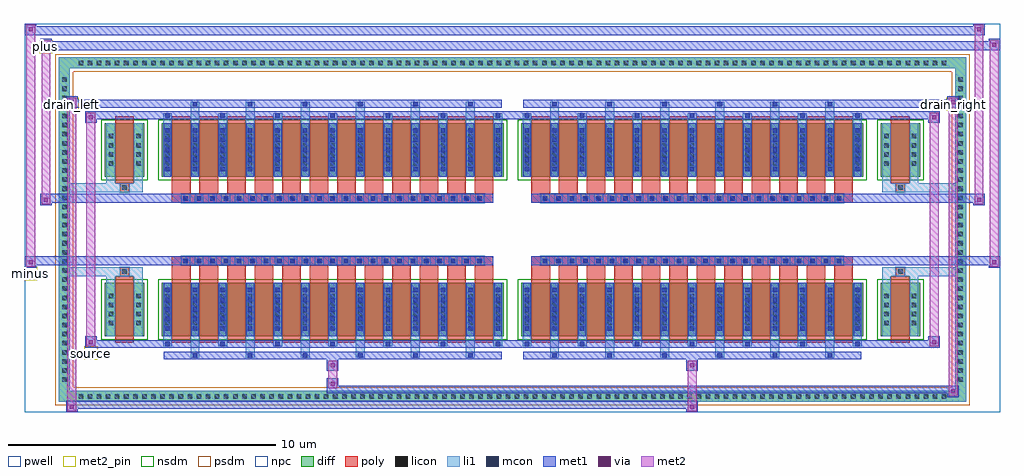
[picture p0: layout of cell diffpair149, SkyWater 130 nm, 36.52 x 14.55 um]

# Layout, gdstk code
import gdstk
lib = gdstk.Library(unit=1e-6, precision=5e-09)
def R(c, l, rs):  # rectangles x0, y0, x1, y1
    for r in rs: c.add(gdstk.rectangle(r[:2], r[2:], *l))
def A(c, l, x, y, w, h, nx, ny, dx, dy):  # array of equal rectangles
    R(c, l, [(x+i*dx, y+j*dy, x+i*dx+w, y+j*dy+h) for i in range(nx) for j in range(ny)])
def P(c, l, *ps):  # polygons
    for p in ps: c.add(gdstk.Polygon(p, *l))
pwell = (64, 44)
diff = (65, 20)
poly = (66, 20)
licon = (66, 44)
li1 = (67, 20)
mcon = (67, 44)
met1 = (68, 20)
via = (68, 44)
met2_pin = (69, 16)
met2 = (69, 20)
nsdm = (93, 44)
psdm = (94, 20)
npc = (95, 20)

diffpair149 = lib.new_cell('diffpair149')
R(diffpair149, pwell, [(-18.24,-6.84,18.24,7.71), (-15.56,-5.03,-0.01,-0.805), (0.01,-5.03,15.56,-0.805), (-15.56,0.805,-0.01,5.03), (0.01,0.805,15.56,5.03)])
A(diffpair149, diff, -16.355, -6.44, 0.41, 0.41, 96, 2, 0.34, 12.47)
A(diffpair149, diff, -16.97, -5.815, 0.41, 0.41, 1, 34, 0, 0.34)
A(diffpair149, diff, 16.56, -5.815, 0.41, 0.41, 1, 34, 0, 0.34)
R(diffpair149, diff, [(-16.355,-6.44,16.355,-6.03), (-16.97,-5.815,-16.56,5.815), (16.56,-5.815,16.97,5.815), (-15.25,-3.985,-13.77,-1.985), (-13.13,-3.985,-0.32,-1.985), (0.32,-3.985,13.13,-1.985), (13.77,-3.985,15.25,-1.985), (-15.25,1.985,-13.77,3.985), (-13.13,1.985,-0.32,3.985), (0.32,1.985,13.13,3.985), (13.77,1.985,15.25,3.985), (-16.355,6.03,16.355,6.44)])
P(diffpair149, diff, [(16.97,6.44),(-16.97,6.44),(-16.97,-6.03),(-16.56,-6.03),(-16.56,6.03),(16.56,6.03),(16.56,-6.03),(-16.56,-6.03),(-16.97,-6.03),(-16.97,-6.44),(16.97,-6.44)])
A(diffpair149, poly, -12.74, -4.235, 0.7, 2.5, 12, 2, 1.03, 5.97)
A(diffpair149, poly, 0.71, -4.235, 0.7, 2.5, 12, 2, 1.03, 5.97)
A(diffpair149, poly, -12.74, -1.735, 0.7, 0.4, 12, 2, 1.03, 3.07)
A(diffpair149, poly, 0.71, -1.735, 0.7, 0.4, 12, 2, 1.03, 3.07)
A(diffpair149, poly, -12.39, -1.335, 0.33, 0.33, 23, 2, 0.5, 2.34)
A(diffpair149, poly, 1.06, -1.335, 0.33, 0.33, 23, 2, 0.5, 2.34)
R(diffpair149, poly, [(-14.86,-4.235,-14.16,-1.735), (14.16,-4.235,14.86,-1.735), (-14.675,-1.735,-14.345,-1.405), (-14.675,-1.735,-14.345,-1.405), (14.345,-1.735,14.675,-1.405), (14.345,-1.735,14.675,-1.405), (-12.74,-1.335,-0.71,-1.005), (0.71,-1.335,12.74,-1.005), (-12.74,1.005,-0.71,1.335), (0.71,1.005,12.74,1.335), (-14.675,1.405,-14.345,1.735), (-14.675,1.405,-14.345,1.735), (14.345,1.405,14.675,1.735), (14.345,1.405,14.675,1.735), (-14.86,1.735,-14.16,4.235), (14.16,1.735,14.86,4.235)])
A(diffpair149, licon, -16.235, -6.32, 0.17, 0.17, 96, 2, 0.34, 12.47)
A(diffpair149, licon, -16.85, -5.695, 0.17, 0.17, 1, 34, 0, 0.34)
A(diffpair149, licon, 16.68, -5.695, 0.17, 0.17, 1, 34, 0, 0.34)
A(diffpair149, licon, -15.11, -3.58, 0.17, 0.17, 1, 4, 0, 0.34)
A(diffpair149, licon, -14.08, -3.58, 0.17, 0.17, 1, 4, 0, 0.34)
A(diffpair149, licon, -12.99, -3.58, 0.17, 0.17, 13, 4, 1.03, 0.34)
A(diffpair149, licon, 0.46, -3.58, 0.17, 0.17, 13, 4, 1.03, 0.34)
A(diffpair149, licon, 13.91, -3.58, 0.17, 0.17, 1, 4, 0, 0.34)
A(diffpair149, licon, 14.94, -3.58, 0.17, 0.17, 1, 4, 0, 0.34)
A(diffpair149, licon, -12.31, -1.255, 0.17, 0.17, 23, 2, 0.5, 2.34)
A(diffpair149, licon, 1.14, -1.255, 0.17, 0.17, 23, 2, 0.5, 2.34)
A(diffpair149, licon, -15.11, 2.39, 0.17, 0.17, 1, 4, 0, 0.34)
A(diffpair149, licon, -14.08, 2.39, 0.17, 0.17, 1, 4, 0, 0.34)
A(diffpair149, licon, -12.99, 2.39, 0.17, 0.17, 13, 4, 1.03, 0.34)
A(diffpair149, licon, 0.46, 2.39, 0.17, 0.17, 13, 4, 1.03, 0.34)
A(diffpair149, licon, 13.91, 2.39, 0.17, 0.17, 1, 4, 0, 0.34)
A(diffpair149, licon, 14.94, 2.39, 0.17, 0.17, 1, 4, 0, 0.34)
R(diffpair149, licon, [(-14.595,-1.655,-14.425,-1.485), (14.425,-1.655,14.595,-1.485), (-14.595,1.485,-14.425,1.655), (14.425,1.485,14.595,1.655)])
A(diffpair149, li1, -16.315, -6.4, 0.33, 0.33, 96, 2, 0.34, 12.47)
A(diffpair149, li1, -16.93, -5.775, 0.33, 0.33, 1, 34, 0, 0.34)
A(diffpair149, li1, 16.6, -5.775, 0.33, 0.33, 1, 34, 0, 0.34)
A(diffpair149, li1, -12.04, -4.79, 0.33, 0.805, 6, 2, 2.06, 8.775)
A(diffpair149, li1, -11.96, -4.79, 0.17, 0.17, 6, 2, 2.06, 9.41)
A(diffpair149, li1, 1.41, -4.79, 0.33, 0.805, 6, 2, 2.06, 8.775)
A(diffpair149, li1, 1.49, -4.79, 0.17, 0.17, 6, 2, 2.06, 9.41)
A(diffpair149, li1, -13.07, -4.36, 0.33, 0.375, 7, 2, 2.06, 8.345)
A(diffpair149, li1, -12.99, -4.36, 0.17, 0.17, 7, 2, 2.06, 8.55)
A(diffpair149, li1, 0.38, -4.36, 0.33, 0.375, 7, 2, 2.06, 8.345)
A(diffpair149, li1, 0.46, -4.36, 0.17, 0.17, 7, 2, 2.06, 8.55)
A(diffpair149, li1, -13.07, -3.985, 0.33, 2, 13, 2, 1.03, 5.97)
A(diffpair149, li1, 0.38, -3.985, 0.33, 2, 13, 2, 1.03, 5.97)
A(diffpair149, li1, -12.99, -3.79, 0.17, 0.17, 13, 5, 1.03, 0.36)
A(diffpair149, li1, -12.99, -3.79, 0.17, 1.61, 13, 2, 1.03, 5.97)
A(diffpair149, li1, 0.46, -3.79, 0.17, 0.17, 13, 5, 1.03, 0.36)
A(diffpair149, li1, 0.46, -3.79, 0.17, 1.61, 13, 2, 1.03, 5.97)
A(diffpair149, li1, -15.19, -3.66, 0.33, 0.33, 1, 4, 0, 0.34)
A(diffpair149, li1, -14.16, -3.66, 0.33, 0.33, 1, 4, 0, 0.34)
A(diffpair149, li1, -13.07, -3.66, 0.33, 0.33, 13, 4, 1.03, 0.34)
A(diffpair149, li1, 0.38, -3.66, 0.33, 0.33, 13, 4, 1.03, 0.34)
A(diffpair149, li1, 13.83, -3.66, 0.33, 0.33, 1, 4, 0, 0.34)
A(diffpair149, li1, 14.86, -3.66, 0.33, 0.33, 1, 4, 0, 0.34)
A(diffpair149, li1, -12.39, -1.335, 0.33, 0.33, 23, 2, 0.5, 2.34)
A(diffpair149, li1, 1.06, -1.335, 0.33, 0.33, 23, 2, 0.5, 2.34)
A(diffpair149, li1, -12.99, 2.18, 0.17, 0.17, 13, 5, 1.03, 0.36)
A(diffpair149, li1, 0.46, 2.18, 0.17, 0.17, 13, 5, 1.03, 0.36)
A(diffpair149, li1, -15.19, 2.31, 0.33, 0.33, 1, 4, 0, 0.34)
A(diffpair149, li1, -14.16, 2.31, 0.33, 0.33, 1, 4, 0, 0.34)
A(diffpair149, li1, -13.07, 2.31, 0.33, 0.33, 13, 4, 1.03, 0.34)
A(diffpair149, li1, 0.38, 2.31, 0.33, 0.33, 13, 4, 1.03, 0.34)
A(diffpair149, li1, 13.83, 2.31, 0.33, 0.33, 1, 4, 0, 0.34)
A(diffpair149, li1, 14.86, 2.31, 0.33, 0.33, 1, 4, 0, 0.34)
R(diffpair149, li1, [(-16.97,-6.44,-16.56,-6.03), (-16.97,-6.44,-16.56,-6.03), (-16.56,-6.44,16.56,-6.03), (16.56,-6.44,16.97,-6.03), (16.56,-6.44,16.97,-6.03), (-16.97,-6.03,-16.56,6.03), (16.56,-6.03,16.97,6.03), (-15.19,-3.985,-14.86,-1.985), (-14.16,-3.985,-13.83,-1.985), (13.83,-3.985,14.16,-1.985), (14.86,-3.985,15.19,-1.985), (-15.19,-1.985,-14.86,-1.405), (-14.16,-1.985,-13.83,-1.405), (13.83,-1.985,14.16,-1.405), (14.86,-1.985,15.19,-1.405), (-16.97,-1.735,-14.675,-1.405), (-15.19,-1.735,-14.675,-1.405), (-14.675,-1.735,-14.345,-1.405), (-14.345,-1.735,-13.83,-1.405), (13.83,-1.735,14.345,-1.405), (14.345,-1.735,14.675,-1.405), (14.345,-1.735,16.97,-1.405), (14.675,-1.735,15.19,-1.405), (-16.97,1.405,-14.675,1.735), (-15.19,1.405,-14.675,1.735), (-15.19,1.405,-14.86,1.985), (-14.675,1.405,-14.345,1.735), (-14.345,1.405,-13.83,1.735), (-14.16,1.405,-13.83,1.985), (13.83,1.405,14.345,1.735), (13.83,1.405,14.16,1.985), (14.345,1.405,14.675,1.735), (14.345,1.405,16.97,1.735), (14.675,1.405,15.19,1.735), (14.86,1.405,15.19,1.985), (-15.19,1.985,-14.86,3.985), (-14.16,1.985,-13.83,3.985), (13.83,1.985,14.16,3.985), (14.86,1.985,15.19,3.985), (-16.97,6.03,-16.56,6.44), (-16.97,6.03,-16.56,6.44), (-16.56,6.03,16.56,6.44), (16.56,6.03,16.97,6.44), (16.56,6.03,16.97,6.44)])
A(diffpair149, mcon, -11.96, -4.79, 0.17, 0.17, 6, 2, 2.06, 9.41)
A(diffpair149, mcon, 1.49, -4.79, 0.17, 0.17, 6, 2, 2.06, 9.41)
A(diffpair149, mcon, -12.99, -4.36, 0.17, 0.17, 7, 2, 2.06, 8.55)
A(diffpair149, mcon, 0.46, -4.36, 0.17, 0.17, 7, 2, 2.06, 8.55)
A(diffpair149, mcon, -12.99, -3.79, 0.17, 0.17, 13, 5, 1.03, 0.36)
A(diffpair149, mcon, 0.46, -3.79, 0.17, 0.17, 13, 5, 1.03, 0.36)
A(diffpair149, mcon, -12.31, -1.255, 0.17, 0.17, 23, 2, 0.5, 2.34)
A(diffpair149, mcon, 1.14, -1.255, 0.17, 0.17, 23, 2, 0.5, 2.34)
A(diffpair149, mcon, -12.99, 2.18, 0.17, 0.17, 13, 5, 1.03, 0.36)
A(diffpair149, mcon, 0.46, 2.18, 0.17, 0.17, 13, 5, 1.03, 0.36)
A(diffpair149, met1, -12.02, -4.85, 0.29, 0.29, 6, 2, 2.06, 9.41)
A(diffpair149, met1, 1.43, -4.85, 0.29, 0.29, 6, 2, 2.06, 9.41)
A(diffpair149, met1, -13.05, -4.42, 0.29, 0.29, 7, 2, 2.06, 8.55)
A(diffpair149, met1, 0.4, -4.42, 0.29, 0.29, 7, 2, 2.06, 8.55)
A(diffpair149, met1, -13.05, -3.985, 0.29, 2, 13, 2, 1.03, 5.97)
A(diffpair149, met1, 0.4, -3.985, 0.29, 2, 13, 2, 1.03, 5.97)
A(diffpair149, met1, -13.05, -3.85, 0.29, 0.29, 13, 5, 1.03, 0.36)
A(diffpair149, met1, 0.4, -3.85, 0.29, 0.29, 13, 5, 1.03, 0.36)
A(diffpair149, met1, -12.37, -1.315, 0.29, 0.29, 23, 2, 0.5, 2.34)
A(diffpair149, met1, 1.08, -1.315, 0.29, 0.29, 23, 2, 0.5, 2.34)
A(diffpair149, met1, -13.05, 2.12, 0.29, 0.29, 13, 5, 1.03, 0.36)
A(diffpair149, met1, 0.4, 2.12, 0.29, 0.29, 13, 5, 1.03, 0.36)
R(diffpair149, met1, [(-16.7,-6.84,-16.27,-6.41), (6.51,-6.84,6.94,-6.41), (-16.7,-6.7,6.94,-6.41), (16.27,-6.27,16.7,-5.84), (-6.94,-6.13,16.7,-5.84), (-6.94,-5.99,-6.51,-5.56), (-6.94,-5.28,-6.51,-4.85), (6.51,-5.28,6.94,-4.85), (-13.05,-4.85,-0.4,-4.56), (0.4,-4.85,13.05,-4.56), (-15.99,-4.42,-15.56,-3.99), (-15.99,-4.42,-13.05,-4.13), (-13.05,-4.42,-0.4,-4.13), (-0.4,-4.42,0.4,-4.13), (0.4,-4.42,13.05,-4.13), (13.05,-4.42,15.99,-4.13), (15.56,-4.42,15.99,-3.99), (-18.24,-1.435,-17.81,-1.005), (17.81,-1.435,18.24,-1.005), (-18.24,-1.335,-0.71,-1.005), (-12.74,-1.335,-0.71,-1.005), (0.71,-1.335,12.74,-1.005), (0.71,-1.335,18.24,-1.005), (-17.67,0.905,-17.24,1.335), (17.24,0.905,17.67,1.335), (-17.67,1.005,-12.74,1.335), (-12.74,1.005,-0.71,1.335), (0.71,1.005,12.74,1.335), (12.74,1.005,17.67,1.335), (-15.99,3.99,-15.56,4.42), (15.56,3.99,15.99,4.42), (-15.99,4.13,-13.05,4.42), (-13.05,4.13,-0.4,4.42), (-0.4,4.13,0.4,4.42), (0.4,4.13,13.05,4.42), (13.05,4.13,15.99,4.42), (-16.7,4.56,-16.27,4.99), (-16.7,4.56,-13.05,4.85), (-13.05,4.56,-0.4,4.85), (0.4,4.56,13.05,4.85), (13.05,4.56,16.7,4.85), (16.27,4.56,16.7,4.99), (-17.67,6.71,-17.24,7.14), (-17.67,6.71,-15.56,7.04), (-15.56,6.71,15.56,7.04), (15.56,6.71,18.24,7.04), (17.81,6.71,18.24,7.14), (-18.24,7.28,-17.81,7.71), (-18.24,7.28,-15.56,7.61), (-15.56,7.28,15.56,7.61), (15.56,7.28,17.67,7.61), (17.24,7.28,17.67,7.71)])
R(diffpair149, via, [(-16.56,-6.7,-16.41,-6.55), (6.65,-6.7,6.8,-6.55), (16.41,-6.13,16.56,-5.98), (-6.8,-5.85,-6.65,-5.7), (-6.8,-5.14,-6.65,-4.99), (6.65,-5.14,6.8,-4.99), (-15.85,-4.28,-15.7,-4.13), (15.7,-4.28,15.85,-4.13), (-18.1,-1.295,-17.95,-1.145), (17.95,-1.295,18.1,-1.145), (-17.53,1.045,-17.38,1.195), (17.38,1.045,17.53,1.195), (-15.85,4.13,-15.7,4.28), (15.7,4.13,15.85,4.28), (-16.56,4.7,-16.41,4.85), (16.41,4.7,16.56,4.85), (-17.53,6.85,-17.38,7), (17.95,6.85,18.1,7), (-18.1,7.42,-17.95,7.57), (17.38,7.42,17.53,7.57)])
R(diffpair149, met2_pin, [(-16.025,-4.87,-15.525,-4.37), (-18.275,-1.885,-17.775,-1.385), (-16.735,4.44,-16.235,4.94), (16.235,4.44,16.735,4.94), (-17.705,6.59,-17.205,7.09)])
R(diffpair149, met2, [(-16.65,-6.79,-16.32,-6.46), (-16.65,-6.79,-16.32,4.94), (6.56,-6.79,6.89,-6.46), (6.56,-6.46,6.89,-5.23), (16.32,-6.22,16.65,-5.89), (16.32,-6.22,16.65,4.94), (-6.89,-5.94,-6.56,-5.61), (-6.89,-5.61,-6.56,-5.23), (-6.89,-5.23,-6.56,-4.9), (6.56,-5.23,6.89,-4.9), (-15.94,-4.37,-15.61,-4.04), (-15.94,-4.37,-15.61,4.37), (15.61,-4.37,15.94,-4.04), (15.61,-4.37,15.94,4.37), (-18.19,-1.385,-17.86,-1.055), (-18.19,-1.385,-17.86,7.66), (17.86,-1.385,18.19,-1.055), (17.86,-1.385,18.19,7.09), (-17.62,0.955,-17.29,1.285), (-17.62,0.955,-17.29,7.09), (17.29,0.955,17.62,1.285), (17.29,0.955,17.62,7.66), (-15.94,4.04,-15.61,4.37), (15.61,4.04,15.94,4.37), (-16.65,4.61,-16.32,4.94), (16.32,4.61,16.65,4.94), (-17.62,6.76,-17.29,7.09), (17.86,6.76,18.19,7.09), (-18.19,7.33,-17.86,7.66), (17.29,7.33,17.62,7.66)])
P(diffpair149, met2, [(18.19,-1.385),(18.19,-1.385),(18.19,-1.055),(18.19,-1.055)],
  [(18.19,6.76),(18.19,6.76),(18.19,7.09),(18.19,7.09)],
  [(-17.86,-1.385),(-17.86,-1.385),(-17.86,-1.055),(-17.86,-1.055)],
  [(-17.86,7.33),(-17.86,7.33),(-17.86,7.66),(-17.86,7.66)],
  [(17.62,0.955),(17.62,0.955),(17.62,1.285),(17.62,1.285)],
  [(17.62,7.33),(17.62,7.33),(17.62,7.66),(17.62,7.66)],
  [(-17.29,0.955),(-17.29,0.955),(-17.29,1.285),(-17.29,1.285)],
  [(-17.29,6.76),(-17.29,6.76),(-17.29,7.09),(-17.29,7.09)],
  [(-16.32,-6.79),(-16.32,-6.79),(-16.32,-6.46),(-16.32,-6.46)],
  [(-16.32,4.61),(-16.32,4.61),(-16.32,4.94),(-16.32,4.94)],
  [(16.65,-6.22),(16.65,-6.22),(16.65,-5.89),(16.65,-5.89)],
  [(16.65,4.61),(16.65,4.61),(16.65,4.94),(16.65,4.94)],
  [(-15.61,-4.37),(-15.61,-4.37),(-15.61,-4.04),(-15.61,-4.04)],
  [(-15.61,4.04),(-15.61,4.04),(-15.61,4.37),(-15.61,4.37)],
  [(15.94,-4.37),(15.94,-4.37),(15.94,-4.04),(15.94,-4.04)],
  [(15.94,4.04),(15.94,4.04),(15.94,4.37),(15.94,4.37)])
R(diffpair149, nsdm, [(-15.38,-4.115,-13.64,-1.855), (-13.26,-4.115,-0.19,-1.855), (0.19,-4.115,13.26,-1.855), (13.64,-4.115,15.38,-1.855), (-15.38,1.855,-13.64,4.115), (-13.26,1.855,-0.19,4.115), (0.19,1.855,13.26,4.115), (13.64,1.855,15.38,4.115)])
P(diffpair149, psdm, [(17.1,6.57),(-17.1,6.57),(-17.1,-5.9),(-16.43,-5.9),(-16.43,5.9),(16.43,5.9),(16.43,-5.9),(-16.43,-5.9),(-17.1,-5.9),(-17.1,-6.57),(17.1,-6.57)])
A(diffpair149, npc, -12.41, -1.355, 0.37, 0.37, 23, 2, 0.5, 2.34)
A(diffpair149, npc, 1.04, -1.355, 0.37, 0.37, 23, 2, 0.5, 2.34)
R(diffpair149, npc, [(-14.695,-1.755,-14.325,-1.385), (14.325,-1.755,14.695,-1.385), (-12.41,-1.355,-11.54,-0.985), (-12.41,-1.355,-11.54,-0.985), (-11.91,-1.355,-11.04,-0.985), (-11.91,-1.355,-11.04,-0.985), (-11.41,-1.355,-10.54,-0.985), (-11.41,-1.355,-10.54,-0.985), (-10.91,-1.355,-10.04,-0.985), (-10.91,-1.355,-10.04,-0.985), (-10.41,-1.355,-9.54,-0.985), (-10.41,-1.355,-9.54,-0.985), (-9.91,-1.355,-9.04,-0.985), (-9.91,-1.355,-9.04,-0.985), (-9.41,-1.355,-8.54,-0.985), (-9.41,-1.355,-8.54,-0.985), (-8.91,-1.355,-8.04,-0.985), (-8.91,-1.355,-8.04,-0.985), (-8.41,-1.355,-7.54,-0.985), (-8.41,-1.355,-7.54,-0.985), (-7.91,-1.355,-7.04,-0.985), (-7.91,-1.355,-7.04,-0.985), (-7.41,-1.355,-6.54,-0.985), (-7.41,-1.355,-6.54,-0.985), (-6.91,-1.355,-6.04,-0.985), (-6.91,-1.355,-6.04,-0.985), (-6.41,-1.355,-5.54,-0.985), (-6.41,-1.355,-5.54,-0.985), (-5.91,-1.355,-5.04,-0.985), (-5.91,-1.355,-5.04,-0.985), (-5.41,-1.355,-4.54,-0.985), (-5.41,-1.355,-4.54,-0.985), (-4.91,-1.355,-4.04,-0.985), (-4.91,-1.355,-4.04,-0.985), (-4.41,-1.355,-3.54,-0.985), (-4.41,-1.355,-3.54,-0.985), (-3.91,-1.355,-3.04,-0.985), (-3.91,-1.355,-3.04,-0.985), (-3.41,-1.355,-2.54,-0.985), (-3.41,-1.355,-2.54,-0.985), (-2.91,-1.355,-2.04,-0.985), (-2.91,-1.355,-2.04,-0.985), (-2.41,-1.355,-1.54,-0.985), (-2.41,-1.355,-1.54,-0.985), (-1.91,-1.355,-1.04,-0.985), (-1.91,-1.355,-1.04,-0.985), (1.04,-1.355,1.91,-0.985), (1.04,-1.355,1.91,-0.985), (1.54,-1.355,2.41,-0.985), (1.54,-1.355,2.41,-0.985), (2.04,-1.355,2.91,-0.985), (2.04,-1.355,2.91,-0.985), (2.54,-1.355,3.41,-0.985), (2.54,-1.355,3.41,-0.985), (3.04,-1.355,3.91,-0.985), (3.04,-1.355,3.91,-0.985), (3.54,-1.355,4.41,-0.985), (3.54,-1.355,4.41,-0.985), (4.04,-1.355,4.91,-0.985), (4.04,-1.355,4.91,-0.985), (4.54,-1.355,5.41,-0.985), (4.54,-1.355,5.41,-0.985), (5.04,-1.355,5.91,-0.985), (5.04,-1.355,5.91,-0.985), (5.54,-1.355,6.41,-0.985), (5.54,-1.355,6.41,-0.985), (6.04,-1.355,6.91,-0.985), (6.04,-1.355,6.91,-0.985), (6.54,-1.355,7.41,-0.985), (6.54,-1.355,7.41,-0.985), (7.04,-1.355,7.91,-0.985), (7.04,-1.355,7.91,-0.985), (7.54,-1.355,8.41,-0.985), (7.54,-1.355,8.41,-0.985), (8.04,-1.355,8.91,-0.985), (8.04,-1.355,8.91,-0.985), (8.54,-1.355,9.41,-0.985), (8.54,-1.355,9.41,-0.985), (9.04,-1.355,9.91,-0.985), (9.04,-1.355,9.91,-0.985), (9.54,-1.355,10.41,-0.985), (9.54,-1.355,10.41,-0.985), (10.04,-1.355,10.91,-0.985), (10.04,-1.355,10.91,-0.985), (10.54,-1.355,11.41,-0.985), (10.54,-1.355,11.41,-0.985), (11.04,-1.355,11.91,-0.985), (11.04,-1.355,11.91,-0.985), (11.54,-1.355,12.41,-0.985), (11.54,-1.355,12.41,-0.985), (-12.41,0.985,-11.54,1.355), (-12.41,0.985,-11.54,1.355), (-11.91,0.985,-11.04,1.355), (-11.91,0.985,-11.04,1.355), (-11.41,0.985,-10.54,1.355), (-11.41,0.985,-10.54,1.355), (-10.91,0.985,-10.04,1.355), (-10.91,0.985,-10.04,1.355), (-10.41,0.985,-9.54,1.355), (-10.41,0.985,-9.54,1.355), (-9.91,0.985,-9.04,1.355), (-9.91,0.985,-9.04,1.355), (-9.41,0.985,-8.54,1.355), (-9.41,0.985,-8.54,1.355), (-8.91,0.985,-8.04,1.355), (-8.91,0.985,-8.04,1.355), (-8.41,0.985,-7.54,1.355), (-8.41,0.985,-7.54,1.355), (-7.91,0.985,-7.04,1.355), (-7.91,0.985,-7.04,1.355), (-7.41,0.985,-6.54,1.355), (-7.41,0.985,-6.54,1.355), (-6.91,0.985,-6.04,1.355), (-6.91,0.985,-6.04,1.355), (-6.41,0.985,-5.54,1.355), (-6.41,0.985,-5.54,1.355), (-5.91,0.985,-5.04,1.355), (-5.91,0.985,-5.04,1.355), (-5.41,0.985,-4.54,1.355), (-5.41,0.985,-4.54,1.355), (-4.91,0.985,-4.04,1.355), (-4.91,0.985,-4.04,1.355), (-4.41,0.985,-3.54,1.355), (-4.41,0.985,-3.54,1.355), (-3.91,0.985,-3.04,1.355), (-3.91,0.985,-3.04,1.355), (-3.41,0.985,-2.54,1.355), (-3.41,0.985,-2.54,1.355), (-2.91,0.985,-2.04,1.355), (-2.91,0.985,-2.04,1.355), (-2.41,0.985,-1.54,1.355), (-2.41,0.985,-1.54,1.355), (-1.91,0.985,-1.04,1.355), (-1.91,0.985,-1.04,1.355), (1.04,0.985,1.91,1.355), (1.04,0.985,1.91,1.355), (1.54,0.985,2.41,1.355), (1.54,0.985,2.41,1.355), (2.04,0.985,2.91,1.355), (2.04,0.985,2.91,1.355), (2.54,0.985,3.41,1.355), (2.54,0.985,3.41,1.355), (3.04,0.985,3.91,1.355), (3.04,0.985,3.91,1.355), (3.54,0.985,4.41,1.355), (3.54,0.985,4.41,1.355), (4.04,0.985,4.91,1.355), (4.04,0.985,4.91,1.355), (4.54,0.985,5.41,1.355), (4.54,0.985,5.41,1.355), (5.04,0.985,5.91,1.355), (5.04,0.985,5.91,1.355), (5.54,0.985,6.41,1.355), (5.54,0.985,6.41,1.355), (6.04,0.985,6.91,1.355), (6.04,0.985,6.91,1.355), (6.54,0.985,7.41,1.355), (6.54,0.985,7.41,1.355), (7.04,0.985,7.91,1.355), (7.04,0.985,7.91,1.355), (7.54,0.985,8.41,1.355), (7.54,0.985,8.41,1.355), (8.04,0.985,8.91,1.355), (8.04,0.985,8.91,1.355), (8.54,0.985,9.41,1.355), (8.54,0.985,9.41,1.355), (9.04,0.985,9.91,1.355), (9.04,0.985,9.91,1.355), (9.54,0.985,10.41,1.355), (9.54,0.985,10.41,1.355), (10.04,0.985,10.91,1.355), (10.04,0.985,10.91,1.355), (10.54,0.985,11.41,1.355), (10.54,0.985,11.41,1.355), (11.04,0.985,11.91,1.355), (11.04,0.985,11.91,1.355), (11.54,0.985,12.41,1.355), (11.54,0.985,12.41,1.355), (-14.695,1.385,-14.325,1.755), (14.325,1.385,14.695,1.755)])
diffpair149.add(gdstk.Label('minus', (-18.025,-1.635), layer=69, texttype=5))
diffpair149.add(gdstk.Label('drain_right', (16.485,4.69), layer=69, texttype=5))
diffpair149.add(gdstk.Label('drain_left', (-16.485,4.69), layer=69, texttype=5))
diffpair149.add(gdstk.Label('source', (-15.775,-4.62), layer=69, texttype=5))
diffpair149.add(gdstk.Label('plus', (-17.455,6.84), layer=69, texttype=5))

lib.write_gds('diffpair149.gds')
